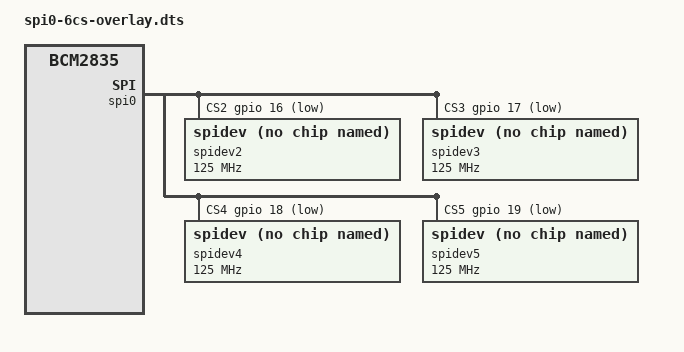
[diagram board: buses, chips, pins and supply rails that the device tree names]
/dts-v1/;
/plugin/;


/ {
	compatible = "brcm,bcm2835";

	fragment@0 {
		target = <&spi0_cs_pins>;
		frag0: __overlay__ {
			brcm,pins = <8 13 16 17 18 19>;
		};
	};

	fragment@1 {
		target = <&spi0>;
		frag1: __overlay__ {
			cs-gpios = <&gpio 8 1>, <&gpio 13 1>, <&gpio 16 1>, <&gpio 17 1>, <&gpio 18 1>, <&gpio 19 1>;
			status = "okay";
		};
	};

	fragment@2 {
		target = <&spi0_pins>;
		__dormant__ {
			brcm,pins = <9 10 11>;
		};
	};

	fragment@3 {
		target = <&spi0>;
		frag3: __overlay__ {
			spidev2: spidev@2 {
				compatible = "spidev";
				reg = <2>;	/* CE2 */
				#address-cells = <1>;
				#size-cells = <0>;
				spi-max-frequency = <125000000>;
			};
			spidev3: spidev@3 {
				compatible = "spidev";
				reg = <3>;	/* CE3 */
				#address-cells = <1>;
				#size-cells = <0>;
				spi-max-frequency = <125000000>;
			};
			spidev4: spidev@4 {
				compatible = "spidev";
				reg = <4>;	/* CE4 */
				#address-cells = <1>;
				#size-cells = <0>;
				spi-max-frequency = <125000000>;
			};
			spidev5: spidev@5 {
				compatible = "spidev";
				reg = <5>;	/* CE5 */
				#address-cells = <1>;
				#size-cells = <0>;
				spi-max-frequency = <125000000>;
			};
		};
	};

	__overrides__ {
		cs0_pin = <&frag0>,"brcm,pins:0",
				<&frag1>,"cs-gpios:4";
		cs1_pin = <&frag0>,"brcm,pins:4",
				<&frag1>,"cs-gpios:16";
		cs2_pin = <&frag0>,"brcm,pins:8",
				<&frag1>,"cs-gpios:28";
		cs3_pin = <&frag0>,"brcm,pins:12",
				<&frag1>,"cs-gpios:40";
		cs4_pin = <&frag0>,"brcm,pins:16",
				<&frag1>,"cs-gpios:52";
		cs5_pin = <&frag0>,"brcm,pins:20",
				<&frag1>,"cs-gpios:64";
		no_miso = <0>,"=2";
	};
};
